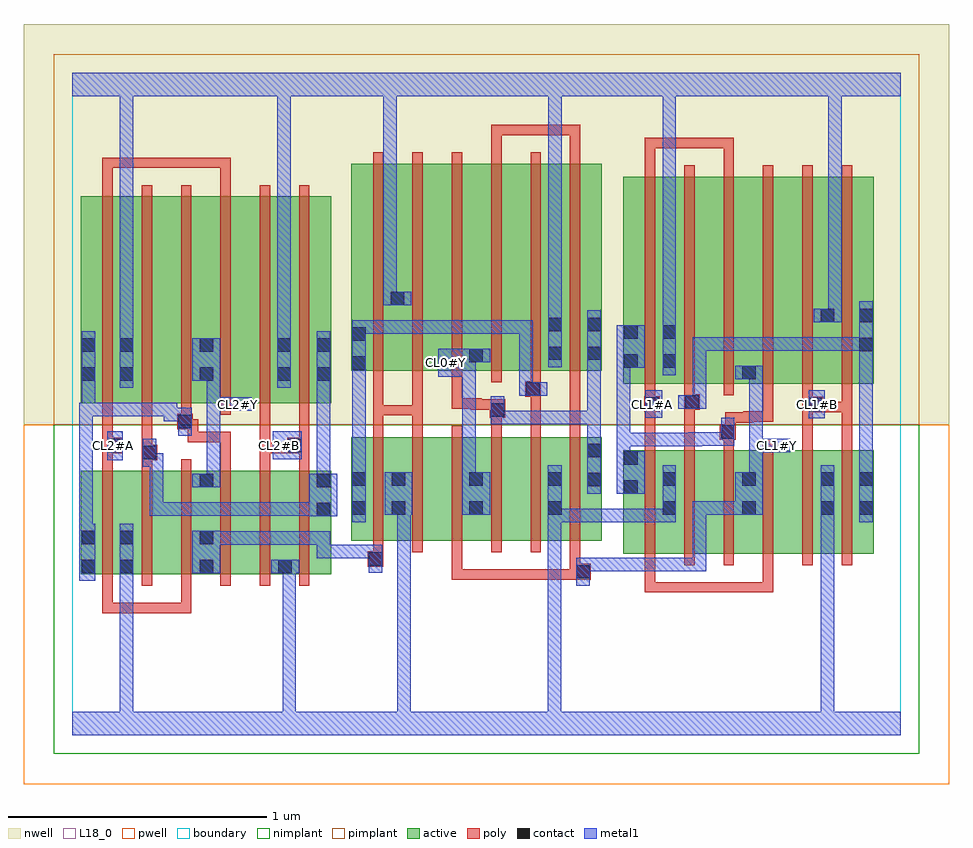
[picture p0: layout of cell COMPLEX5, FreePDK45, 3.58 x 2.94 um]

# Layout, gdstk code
import gdstk
lib = gdstk.Library(unit=1e-6, precision=1e-09)
def R(c, l, rs):  # rectangles x0, y0, x1, y1
    for r in rs: c.add(gdstk.rectangle(r[:2], r[2:], *l))
def A(c, l, x, y, w, h, nx, ny, dx, dy):  # array of equal rectangles
    R(c, l, [(x+i*dx, y+j*dy, x+i*dx+w, y+j*dy+h) for i in range(nx) for j in range(ny)])
active = (1, 0)
pwell = (2, 0)
nwell = (3, 0)
nimplant = (4, 0)
pimplant = (5, 0)
poly = (9, 0)
contact = (10, 0)
metal1 = (11, 0)
L18_0 = (18, 0)
boundary = (235, 0)

complex5 = lib.new_cell('COMPLEX5')
R(complex5, active, [(0.032,0.622,0.24,1.022), (0.032,0.622,0.092,1.022), (0.18,0.622,0.364,1.022), (0.18,0.622,0.24,1.022), (0.364,0.622,0.548,1.022), (0.488,0.622,0.668,1.022), (0.488,0.622,0.548,1.022), (0.668,0.622,0.852,1.022), (0.792,0.622,1,1.022), (0.792,0.622,0.852,0.682), (2.128,0.702,2.336,1.102), (2.276,0.702,2.46,1.102), (2.46,0.702,2.644,1.102), (2.584,0.702,2.764,1.102), (2.764,0.702,2.948,1.102), (2.888,0.702,3.096,1.102), (1.078,0.752,1.29,1.152), (1.078,0.752,1.138,1.152), (1.23,0.752,1.41,1.152), (1.41,0.752,1.59,1.152), (1.53,0.752,1.714,1.152), (1.714,0.752,1.894,1.152), (1.834,0.752,2.046,1.152), (0.94,0.756,1,1.022), (1.23,0.756,1.29,1.152), (1.53,0.756,1.59,1.152), (1.834,0.756,1.894,1.152), (1.986,0.756,2.046,1.152), (2.128,0.756,2.188,1.102), (2.276,0.756,2.336,1.102), (2.584,0.756,2.644,1.102), (2.888,0.756,2.948,1.102), (3.036,0.756,3.096,1.102), (0.032,1.282,0.24,2.082), (0.032,1.282,0.092,2.044), (0.18,1.282,0.364,2.082), (0.364,1.282,0.548,2.082), (0.488,1.282,0.668,2.082), (0.668,1.282,0.848,2.082), (0.788,1.282,1,2.082), (0.788,1.282,0.848,2.044), (0.94,1.282,1,2.044), (2.128,1.358,2.188,2.044), (2.128,1.358,2.336,2.158), (2.276,1.358,2.336,2.044), (2.276,1.358,2.46,2.158), (2.46,1.358,2.644,2.158), (2.584,1.358,2.644,2.044), (2.584,1.358,2.764,2.158), (2.764,1.358,2.948,2.158), (2.888,1.358,2.948,2.044), (2.888,1.358,3.096,2.158), (3.036,1.358,3.096,2.044), (0.18,1.366,0.24,2.044), (0.488,1.366,0.548,2.044), (1.078,1.408,1.286,2.208), (1.078,1.408,1.138,2.044), (1.226,1.408,1.41,2.208), (1.41,1.408,1.59,2.208), (1.53,1.408,1.714,2.208), (1.53,1.408,1.59,2.044), (1.714,1.408,1.894,2.208), (1.834,1.408,2.046,2.208), (1.986,1.408,2.046,2.044), (1.834,1.446,1.894,2.044), (1.226,1.658,1.286,2.044)])
R(complex5, pwell, [(-0.188,-0.188,3.388,1.2)])
R(complex5, nwell, [(-0.188,1.2,3.388,2.748)])
R(complex5, nimplant, [(-0.072,-0.072,3.272,1.2)])
R(complex5, pimplant, [(-0.072,1.2,3.272,2.632)])
A(complex5, poly, 0.116, 0.578, 0.04, 0.488, 6, 1, 0.152, 0)
A(complex5, poly, 2.212, 0.658, 0.04, 0.488, 6, 1, 0.152, 0)
A(complex5, poly, 1.162, 0.708, 0.04, 0.488, 6, 1, 0.152, 0)
A(complex5, poly, 0.116, 1.238, 0.04, 0.888, 6, 1, 0.152, 0)
A(complex5, poly, 2.212, 1.314, 0.04, 0.888, 6, 1, 0.152, 0)
A(complex5, poly, 1.162, 1.364, 0.04, 0.888, 6, 1, 0.152, 0)
R(complex5, poly, [(0.116,0.472,0.156,0.512), (0.116,0.472,0.156,0.512), (0.116,0.472,0.156,0.512), (0.116,0.472,0.156,0.618), (0.116,0.472,0.262,0.512), (0.222,0.472,0.262,0.512), (0.222,0.472,0.296,0.512), (0.256,0.472,0.296,0.512), (0.256,0.472,0.46,0.512), (0.42,0.472,0.46,0.512), (0.42,0.472,0.46,0.618), (2.212,0.552,2.252,0.592), (2.212,0.552,2.252,0.592), (2.212,0.552,2.252,0.592), (2.212,0.552,2.252,0.698), (2.212,0.552,2.358,0.592), (2.318,0.552,2.358,0.592), (2.318,0.552,2.526,0.592), (2.486,0.552,2.526,0.592), (2.486,0.552,2.526,0.592), (2.486,0.552,2.526,0.592), (2.486,0.552,2.708,0.592), (2.668,0.552,2.708,0.592), (2.668,0.552,2.708,0.592), (2.668,0.552,2.708,0.592), (2.668,0.552,2.708,0.698), (1.466,0.602,1.506,0.642), (1.466,0.602,1.506,0.642), (1.466,0.602,1.506,0.642), (1.466,0.602,1.506,0.748), (1.466,0.602,1.612,0.642), (1.572,0.602,1.612,0.642), (1.572,0.602,1.794,0.642), (1.754,0.602,1.794,0.642), (1.754,0.602,1.794,0.642), (1.754,0.602,1.794,0.642), (1.754,0.602,1.962,0.642), (1.922,0.602,1.962,0.642), (1.922,0.602,1.962,0.642), (1.922,0.602,2.002,0.662), (1.922,0.622,1.962,0.748), (1.142,0.652,1.202,0.712), (1.162,0.672,1.202,0.748), (0.116,1.026,0.156,1.13), (0.268,1.026,0.308,1.102), (0.572,1.026,0.612,1.172), (0.724,1.026,0.764,1.13), (0.876,1.026,0.916,1.13), (0.268,1.062,0.328,1.122), (0.268,1.082,0.308,1.122), (0.268,1.082,0.308,1.122), (0.268,1.082,0.308,1.278), (0.116,1.09,0.19,1.15), (0.724,1.09,0.764,1.13), (0.724,1.09,0.764,1.13), (0.724,1.09,0.764,1.13), (0.724,1.09,0.87,1.13), (0.724,1.09,0.764,1.278), (0.83,1.09,0.87,1.13), (0.83,1.09,0.87,1.13), (0.83,1.09,0.916,1.15), (2.212,1.106,2.252,1.29), (2.364,1.106,2.404,1.298), (2.516,1.106,2.556,1.182), (2.82,1.106,2.86,1.288), (2.972,1.106,3.012,1.288), (0.116,1.11,0.156,1.15), (0.116,1.11,0.156,1.15), (0.116,1.11,0.156,1.278), (0.876,1.11,0.916,1.15), (0.876,1.11,0.916,1.15), (0.876,1.11,0.916,1.278), (0.446,1.132,0.612,1.172), (0.446,1.132,0.486,1.222), (0.572,1.132,0.612,1.172), (0.572,1.132,0.612,1.172), (0.572,1.132,0.612,1.172), (2.502,1.142,2.562,1.202), (1.162,1.156,1.202,1.276), (1.314,1.156,1.354,1.276), (1.618,1.156,1.658,1.266), (1.77,1.156,1.81,1.348), (1.922,1.156,1.962,1.232), (2.522,1.162,2.562,1.248), (0.406,1.182,0.466,1.242), (0.426,1.182,0.486,1.222), (1.922,1.192,1.962,1.232), (1.922,1.192,1.962,1.232), (1.922,1.192,1.962,1.232), (1.922,1.192,1.962,1.404), (0.42,1.202,0.46,1.278), (2.522,1.208,2.562,1.248), (2.522,1.208,2.632,1.248), (2.592,1.208,2.632,1.252), (2.592,1.212,2.708,1.252), (2.668,1.212,2.708,1.252), (2.668,1.212,2.708,1.354), (1.612,1.226,1.672,1.298), (1.162,1.236,1.202,1.276), (1.162,1.236,1.202,1.276), (1.162,1.236,1.202,1.276), (1.162,1.236,1.202,1.276), (1.162,1.236,1.202,1.276), (1.162,1.236,1.202,1.404), (1.162,1.236,1.354,1.276), (1.314,1.236,1.354,1.276), (1.314,1.236,1.354,1.276), (1.314,1.236,1.354,1.276), (1.314,1.236,1.354,1.404), (2.82,1.248,2.86,1.288), (2.82,1.248,2.86,1.288), (2.82,1.248,2.9,1.308), (2.86,1.248,3.012,1.288), (2.972,1.248,3.012,1.354), (2.972,1.248,3.012,1.288), (2.972,1.248,3.012,1.288), (2.972,1.248,3.012,1.288), (2.972,1.248,3.012,1.288), (2.972,1.248,3.012,1.288), (2.21,1.25,2.27,1.31), (2.212,1.25,2.252,1.29), (2.212,1.25,2.252,1.29), (1.542,1.258,1.652,1.298), (1.542,1.258,1.582,1.302), (2.364,1.258,2.404,1.298), (2.364,1.258,2.404,1.298), (2.364,1.258,2.424,1.318), (1.466,1.262,1.506,1.302), (1.466,1.262,1.506,1.302), (1.466,1.262,1.506,1.302), (1.466,1.262,1.506,1.404), (1.466,1.262,1.582,1.302), (2.82,1.268,2.86,1.354), (2.212,1.27,2.252,1.354), (2.364,1.278,2.404,1.354), (1.75,1.308,1.81,1.368), (1.77,1.308,1.81,1.348), (1.77,1.308,1.81,1.348), (1.77,1.328,1.81,1.404), (0.116,2.086,0.156,2.232), (0.572,2.086,0.612,2.232), (2.212,2.162,2.252,2.308), (2.516,2.162,2.556,2.308), (0.116,2.192,0.156,2.232), (0.116,2.192,0.156,2.232), (0.116,2.192,0.156,2.232), (0.116,2.192,0.274,2.232), (0.234,2.192,0.274,2.232), (0.234,2.192,0.38,2.232), (0.34,2.192,0.38,2.232), (0.34,2.192,0.38,2.232), (0.34,2.192,0.38,2.232), (0.34,2.192,0.612,2.232), (0.572,2.192,0.612,2.232), (0.572,2.192,0.612,2.232), (0.572,2.192,0.612,2.232), (1.618,2.212,1.658,2.358), (1.922,2.212,1.962,2.358), (2.212,2.268,2.252,2.308), (2.212,2.268,2.252,2.308), (2.212,2.268,2.252,2.308), (2.212,2.268,2.42,2.308), (2.38,2.268,2.42,2.308), (2.38,2.268,2.526,2.308), (2.486,2.268,2.526,2.308), (2.486,2.268,2.556,2.308), (2.516,2.268,2.556,2.308), (1.618,2.318,1.658,2.358), (1.618,2.318,1.764,2.358), (1.724,2.318,1.764,2.358), (1.724,2.318,1.764,2.358), (1.724,2.318,1.764,2.358), (1.724,2.318,1.962,2.358), (1.922,2.318,1.962,2.358), (1.922,2.318,1.962,2.358), (1.922,2.318,1.962,2.358)])
R(complex5, contact, [(1.946,0.606,1.998,0.658), (0.036,0.626,0.088,0.678), (0.184,0.626,0.236,0.678), (0.492,0.626,0.544,0.678), (0.796,0.626,0.848,0.678), (1.146,0.656,1.198,0.708), (0.036,0.738,0.088,0.79), (0.184,0.738,0.236,0.79), (0.492,0.738,0.544,0.79), (0.944,0.846,0.996,0.898), (1.082,0.852,1.134,0.904), (1.234,0.852,1.286,0.904), (1.534,0.852,1.586,0.904), (1.838,0.852,1.89,0.904), (2.28,0.852,2.332,0.904), (2.588,0.852,2.64,0.904), (2.892,0.852,2.944,0.904), (3.04,0.852,3.092,0.904), (2.132,0.934,2.184,0.986), (0.492,0.958,0.544,1.01), (0.944,0.958,0.996,1.01), (1.99,0.962,2.042,1.014), (1.082,0.964,1.134,1.016), (1.234,0.964,1.286,1.016), (1.534,0.964,1.586,1.016), (1.838,0.964,1.89,1.016), (2.28,0.964,2.332,1.016), (2.588,0.964,2.64,1.016), (2.892,0.964,2.944,1.016), (3.04,0.964,3.092,1.016), (2.132,1.046,2.184,1.098), (0.272,1.066,0.324,1.118), (1.99,1.074,2.042,1.126), (0.134,1.094,0.186,1.146), (0.834,1.094,0.886,1.146), (2.506,1.146,2.558,1.198), (0.41,1.186,0.462,1.238), (1.616,1.23,1.668,1.282), (2.844,1.252,2.896,1.304), (2.214,1.254,2.266,1.306), (2.368,1.262,2.42,1.314), (1.754,1.312,1.806,1.364), (0.036,1.37,0.088,1.422), (0.184,1.37,0.236,1.422), (0.492,1.37,0.544,1.422), (0.792,1.37,0.844,1.422), (0.944,1.37,0.996,1.422), (2.588,1.376,2.64,1.428), (1.082,1.412,1.134,1.464), (2.132,1.42,2.184,1.472), (2.28,1.42,2.332,1.472), (1.534,1.442,1.586,1.494), (1.838,1.45,1.89,1.502), (1.99,1.45,2.042,1.502), (0.036,1.482,0.088,1.534), (0.184,1.482,0.236,1.534), (0.492,1.482,0.544,1.534), (0.792,1.482,0.844,1.534), (0.944,1.482,0.996,1.534), (3.04,1.484,3.092,1.536), (1.082,1.524,1.134,1.576), (2.132,1.532,2.184,1.584), (2.28,1.532,2.332,1.584), (1.838,1.562,1.89,1.614), (1.99,1.562,2.042,1.614), (2.892,1.596,2.944,1.648), (3.04,1.596,3.092,1.648), (1.23,1.662,1.282,1.714)])
A(complex5, metal1, 0.3, 0.848, 0.052, 0.052, 3, 1, 0.11, 0)
A(complex5, metal1, 0.3, 0.848, 0.162, 0.052, 3, 1, 0.11, 0)
R(complex5, metal1, [(0,0,3.2,0.092), (0.184,0.04,0.236,0.092), (0.184,0.04,0.236,0.092), (0.184,0.04,0.236,0.092), (0.184,0.04,0.236,0.092), (0.184,0.04,0.236,0.092), (0.184,0.04,0.236,0.092), (0.184,0.04,0.236,0.092), (0.184,0.04,0.236,0.092), (0.184,0.04,0.236,0.092), (0.184,0.04,0.236,0.092), (0.184,0.04,0.236,0.092), (0.184,0.04,0.236,0.092), (0.184,0.04,0.236,0.65), (0.812,0.04,0.864,0.092), (0.812,0.04,0.864,0.092), (0.812,0.04,0.864,0.092), (0.812,0.04,0.864,0.092), (0.812,0.04,0.864,0.092), (0.812,0.04,0.864,0.092), (0.812,0.04,0.864,0.092), (0.812,0.04,0.864,0.092), (0.812,0.04,0.864,0.092), (0.812,0.04,0.864,0.092), (0.812,0.04,0.864,0.678), (1.256,0.04,1.308,0.092), (1.256,0.04,1.308,0.092), (1.256,0.04,1.308,0.092), (1.256,0.04,1.308,0.092), (1.256,0.04,1.308,0.092), (1.256,0.04,1.308,0.092), (1.256,0.04,1.308,0.092), (1.256,0.04,1.308,0.092), (1.256,0.04,1.308,0.092), (1.256,0.04,1.308,0.092), (1.256,0.04,1.308,0.092), (1.256,0.04,1.308,0.092), (1.256,0.04,1.308,0.904), (1.836,0.04,1.888,0.092), (1.836,0.04,1.888,0.092), (1.836,0.04,1.888,0.092), (1.836,0.04,1.888,0.092), (1.836,0.04,1.888,0.092), (1.836,0.04,1.888,0.092), (1.836,0.04,1.888,0.092), (1.836,0.04,1.888,0.092), (1.836,0.04,1.888,0.092), (1.836,0.04,1.888,0.092), (1.836,0.04,1.888,0.876), (2.892,0.04,2.944,0.092), (2.892,0.04,2.944,0.092), (2.892,0.04,2.944,0.092), (2.892,0.04,2.944,0.092), (2.892,0.04,2.944,0.092), (2.892,0.04,2.944,0.092), (2.892,0.04,2.944,0.092), (2.892,0.04,2.944,0.092), (2.892,0.04,2.944,0.092), (2.892,0.04,2.944,0.092), (2.892,0.04,2.944,0.092), (2.892,0.04,2.944,0.092), (2.892,0.04,2.944,0.876), (1.946,0.578,1.998,0.686), (0.026,0.598,0.088,0.818), (0.184,0.598,0.236,0.818), (0.464,0.626,0.572,0.79), (0.768,0.626,0.876,0.678), (0.812,0.626,0.864,0.678), (0.812,0.626,0.864,0.678), (1.146,0.628,1.198,0.736), (1.946,0.634,2.046,0.686), (1.994,0.634,2.046,0.686), (1.994,0.634,2.156,0.686), (2.104,0.634,2.156,0.686), (2.104,0.634,2.156,0.686), (2.104,0.634,2.156,0.686), (2.104,0.634,2.266,0.686), (2.214,0.634,2.266,0.686), (2.214,0.634,2.448,0.686), (2.396,0.634,2.448,0.686), (2.396,0.634,2.448,0.686), (2.396,0.634,2.448,0.686), (2.396,0.634,2.448,0.686), (2.396,0.634,2.448,0.686), (2.396,0.634,2.448,0.686), (2.396,0.634,2.448,0.686), (2.396,0.634,2.448,0.904), (0.944,0.684,0.996,0.736), (0.944,0.684,0.996,0.736), (0.944,0.684,0.996,0.736), (0.944,0.684,0.996,0.736), (0.944,0.684,0.996,0.736), (0.944,0.684,1.198,0.736), (0.944,0.684,0.996,0.788), (0.52,0.736,0.572,0.788), (0.52,0.736,0.572,0.788), (0.52,0.736,0.71,0.788), (0.658,0.736,0.71,0.788), (0.658,0.736,0.71,0.788), (0.658,0.736,0.71,0.788), (0.658,0.736,0.858,0.788), (0.806,0.736,0.858,0.788), (0.806,0.736,0.858,0.788), (0.806,0.736,0.858,0.788), (0.806,0.736,0.996,0.788), (0.944,0.736,0.996,0.788), (0.026,0.766,0.078,0.818), (0.026,0.766,0.078,0.818), (0.026,0.766,0.078,1.284), (1.082,0.824,1.134,1.044), (1.836,0.824,1.888,0.876), (1.836,0.824,1.888,0.876), (1.836,0.824,1.89,1.044), (1.838,0.824,2.046,0.876), (1.994,0.824,2.046,0.876), (1.994,0.824,2.046,0.876), (1.994,0.824,2.046,0.876), (1.994,0.824,2.156,0.876), (2.104,0.824,2.156,0.876), (2.104,0.824,2.156,0.876), (2.104,0.824,2.156,0.876), (2.104,0.824,2.332,0.876), (2.28,0.824,2.332,1.044), (2.892,0.824,2.944,1.044), (3.04,0.824,3.092,1.044), (0.916,0.846,1.024,1.01), (0.3,0.848,0.352,0.9), (0.3,0.848,0.352,0.9), (0.3,0.848,0.352,1.09), (0.52,0.848,0.572,0.9), (0.52,0.848,0.572,0.9), (0.63,0.848,0.682,0.9), (0.63,0.848,0.682,0.9), (0.63,0.848,0.682,0.9), (0.63,0.848,0.832,0.9), (0.78,0.848,0.832,0.9), (0.78,0.848,0.832,0.9), (0.78,0.848,0.832,0.9), (0.78,0.848,0.968,0.9), (1.206,0.852,1.314,1.016), (1.506,0.852,1.614,1.016), (2.396,0.852,2.448,0.904), (2.396,0.852,2.612,0.904), (2.56,0.852,2.612,0.904), (2.56,0.852,2.612,0.904), (2.56,0.852,2.612,0.904), (2.56,0.852,2.612,0.904), (2.56,0.852,2.668,1.016), (1.99,0.934,2.042,1.154), (2.104,0.934,2.212,1.098), (0.464,0.958,0.572,1.01), (0.52,0.958,0.572,1.306), (0.944,0.958,0.996,1.01), (0.944,0.958,0.996,1.01), (0.944,0.958,0.996,1.394), (1.506,0.964,1.558,1.438), (2.616,0.964,2.668,1.146), (1.082,0.992,1.134,1.044), (1.082,0.992,1.134,1.044), (1.082,0.992,1.134,1.044), (1.082,0.992,1.134,1.044), (1.082,0.992,1.134,1.436), (3.04,0.992,3.092,1.044), (3.04,0.992,3.092,1.044), (3.04,0.992,3.092,1.044), (3.04,0.992,3.092,1.044), (3.04,0.992,3.092,1.508), (0.272,1.038,0.324,1.146), (0.272,1.038,0.352,1.09), (0.3,1.038,0.352,1.09), (2.104,1.046,2.156,1.168), (0.134,1.062,0.194,1.174), (0.774,1.066,0.886,1.174), (2.616,1.094,2.668,1.146), (2.616,1.094,2.668,1.146), (2.616,1.094,2.668,1.428), (2.616,1.094,2.774,1.146), (1.99,1.102,2.042,1.254), (2.104,1.116,2.156,1.168), (2.104,1.116,2.156,1.168), (2.104,1.116,2.156,1.168), (2.104,1.116,2.156,1.168), (2.104,1.116,2.156,1.168), (2.104,1.116,2.322,1.168), (2.104,1.116,2.156,1.472), (2.27,1.116,2.322,1.168), (2.27,1.116,2.322,1.168), (2.27,1.116,2.322,1.168), (2.27,1.116,2.432,1.168), (2.38,1.116,2.432,1.17), (2.38,1.118,2.558,1.17), (2.506,1.118,2.558,1.226), (0.41,1.158,0.462,1.266), (1.616,1.202,1.668,1.254), (1.616,1.202,1.668,1.254), (1.616,1.202,1.668,1.31), (1.616,1.202,1.888,1.254), (1.836,1.202,1.888,1.254), (1.836,1.202,1.888,1.254), (1.836,1.202,1.888,1.254), (1.836,1.202,2.042,1.254), (1.99,1.202,2.042,1.254), (1.99,1.202,2.042,1.254), (1.99,1.202,2.042,1.254), (1.99,1.202,2.042,1.474), (0.354,1.214,0.462,1.266), (0.354,1.214,0.406,1.284), (2.844,1.224,2.906,1.334), (2.214,1.226,2.278,1.334), (0.026,1.232,0.088,1.284), (0.036,1.232,0.088,1.284), (0.036,1.232,0.088,1.284), (0.036,1.232,0.198,1.284), (0.036,1.232,0.088,1.394), (0.146,1.232,0.198,1.284), (0.146,1.232,0.198,1.284), (0.146,1.232,0.198,1.284), (0.146,1.232,0.406,1.284), (0.52,1.254,0.572,1.306), (0.52,1.254,0.572,1.306), (0.52,1.254,0.572,1.422), (0.52,1.254,0.694,1.306), (2.34,1.262,2.448,1.314), (2.396,1.262,2.448,1.314), (2.396,1.262,2.448,1.314), (2.396,1.262,2.448,1.538), (1.726,1.312,1.778,1.364), (1.726,1.312,1.778,1.364), (1.726,1.312,1.834,1.364), (1.726,1.312,1.778,1.604), (0.036,1.342,0.088,1.562), (0.184,1.342,0.236,1.562), (0.792,1.342,0.844,1.562), (0.944,1.342,0.996,1.394), (0.944,1.342,0.996,1.394), (0.944,1.342,0.996,1.394), (0.944,1.342,0.996,1.394), (0.944,1.342,0.996,1.562), (0.464,1.37,0.572,1.534), (2.56,1.376,2.668,1.428), (1.082,1.384,1.134,1.604), (1.414,1.386,1.558,1.494), (2.28,1.392,2.332,1.612), (2.104,1.42,2.212,1.584), (1.838,1.422,1.89,1.642), (1.99,1.422,2.042,1.474), (1.99,1.422,2.042,1.474), (1.99,1.422,2.042,1.642), (1.506,1.442,1.558,1.494), (1.506,1.442,1.558,1.494), (1.506,1.442,1.558,1.494), (1.506,1.442,1.614,1.494), (3.04,1.456,3.092,1.508), (3.04,1.456,3.092,1.508), (3.04,1.456,3.092,1.676), (2.396,1.486,2.448,1.538), (2.396,1.486,2.448,1.538), (2.396,1.486,2.448,1.538), (2.396,1.486,2.616,1.538), (2.564,1.486,2.616,1.538), (2.564,1.486,2.616,1.538), (2.564,1.486,2.616,1.538), (2.564,1.486,2.726,1.538), (2.674,1.486,2.726,1.538), (2.674,1.486,2.726,1.538), (2.674,1.486,2.726,1.538), (2.674,1.486,2.836,1.538), (2.784,1.486,2.836,1.538), (2.784,1.486,2.836,1.538), (2.784,1.486,2.836,1.538), (2.784,1.486,3.092,1.538), (3.04,1.486,3.092,1.538), (3.04,1.486,3.092,1.538), (0.184,1.51,0.236,1.562), (0.184,1.51,0.236,1.562), (0.184,1.51,0.236,2.52), (0.792,1.51,0.844,1.562), (0.792,1.51,0.844,1.562), (0.792,1.51,0.844,2.52), (1.082,1.552,1.134,1.604), (1.082,1.552,1.134,1.604), (1.082,1.552,1.134,1.604), (1.082,1.552,1.134,1.604), (1.082,1.552,1.244,1.604), (1.192,1.552,1.244,1.604), (1.192,1.552,1.356,1.604), (1.304,1.552,1.356,1.604), (1.304,1.552,1.356,1.604), (1.304,1.552,1.356,1.604), (1.304,1.552,1.466,1.604), (1.414,1.552,1.466,1.604), (1.414,1.552,1.466,1.604), (1.414,1.552,1.466,1.604), (1.414,1.552,1.668,1.604), (1.616,1.552,1.668,1.604), (1.616,1.552,1.778,1.604), (1.726,1.552,1.778,1.604), (1.726,1.552,1.778,1.604), (1.726,1.552,1.778,1.604), (2.28,1.56,2.332,1.612), (2.28,1.56,2.332,1.612), (2.28,1.56,2.332,2.52), (1.838,1.59,1.89,1.642), (1.838,1.59,1.89,1.642), (1.838,1.59,1.89,2.52), (2.864,1.596,2.972,1.648), (2.92,1.596,2.972,2.52), (1.202,1.662,1.254,1.714), (1.202,1.662,1.254,1.714), (1.202,1.662,1.254,1.714), (1.202,1.662,1.254,1.714), (1.202,1.662,1.31,1.714), (1.202,1.662,1.254,2.52), (0,2.468,3.2,2.56), (0.184,2.468,0.236,2.52), (0.184,2.468,0.236,2.52), (0.184,2.468,0.236,2.52), (0.184,2.468,0.236,2.52), (0.184,2.468,0.236,2.52), (0.184,2.468,0.236,2.52), (0.792,2.468,0.844,2.52), (0.792,2.468,0.844,2.52), (0.792,2.468,0.844,2.52), (0.792,2.468,0.844,2.52), (0.792,2.468,0.844,2.52), (0.792,2.468,0.844,2.52), (1.202,2.468,1.254,2.52), (1.202,2.468,1.254,2.52), (1.202,2.468,1.254,2.52), (1.202,2.468,1.254,2.52), (1.838,2.468,1.89,2.52), (1.838,2.468,1.89,2.52), (1.838,2.468,1.89,2.52), (1.838,2.468,1.89,2.52), (1.838,2.468,1.89,2.52), (1.838,2.468,1.89,2.52), (2.28,2.468,2.332,2.52), (2.28,2.468,2.332,2.52), (2.28,2.468,2.332,2.52), (2.28,2.468,2.332,2.52), (2.28,2.468,2.332,2.52), (2.28,2.468,2.332,2.52), (2.92,2.468,2.972,2.52), (2.92,2.468,2.972,2.52), (2.92,2.468,2.972,2.52), (2.92,2.468,2.972,2.52), (2.92,2.468,2.972,2.52), (2.92,2.468,2.972,2.52), (2.92,2.468,2.972,2.52), (2.92,2.468,2.972,2.52)])
R(complex5, L18_0, [(0,0,3.2,0.092), (0.184,0.04,0.236,0.092), (0.184,0.04,0.236,0.092), (0.184,0.04,0.236,0.092), (0.184,0.04,0.236,0.092), (0.184,0.04,0.236,0.092), (0.184,0.04,0.236,0.092), (0.184,0.04,0.236,0.092), (0.184,0.04,0.236,0.092), (0.184,0.04,0.236,0.092), (0.184,0.04,0.236,0.092), (0.184,0.04,0.236,0.092), (0.184,0.04,0.236,0.092), (0.184,0.04,0.236,0.65), (0.812,0.04,0.864,0.092), (0.812,0.04,0.864,0.092), (0.812,0.04,0.864,0.092), (0.812,0.04,0.864,0.092), (0.812,0.04,0.864,0.092), (0.812,0.04,0.864,0.092), (0.812,0.04,0.864,0.092), (0.812,0.04,0.864,0.092), (0.812,0.04,0.864,0.092), (0.812,0.04,0.864,0.092), (0.812,0.04,0.864,0.678), (1.256,0.04,1.308,0.092), (1.256,0.04,1.308,0.092), (1.256,0.04,1.308,0.092), (1.256,0.04,1.308,0.092), (1.256,0.04,1.308,0.092), (1.256,0.04,1.308,0.092), (1.256,0.04,1.308,0.092), (1.256,0.04,1.308,0.092), (1.256,0.04,1.308,0.092), (1.256,0.04,1.308,0.092), (1.256,0.04,1.308,0.092), (1.256,0.04,1.308,0.092), (1.256,0.04,1.308,0.904), (1.836,0.04,1.888,0.092), (1.836,0.04,1.888,0.092), (1.836,0.04,1.888,0.092), (1.836,0.04,1.888,0.092), (1.836,0.04,1.888,0.092), (1.836,0.04,1.888,0.092), (1.836,0.04,1.888,0.092), (1.836,0.04,1.888,0.092), (1.836,0.04,1.888,0.092), (1.836,0.04,1.888,0.092), (1.836,0.04,1.888,0.876), (2.892,0.04,2.944,0.092), (2.892,0.04,2.944,0.092), (2.892,0.04,2.944,0.092), (2.892,0.04,2.944,0.092), (2.892,0.04,2.944,0.092), (2.892,0.04,2.944,0.092), (2.892,0.04,2.944,0.092), (2.892,0.04,2.944,0.092), (2.892,0.04,2.944,0.092), (2.892,0.04,2.944,0.092), (2.892,0.04,2.944,0.092), (2.892,0.04,2.944,0.092), (2.892,0.04,2.944,0.876), (1.946,0.578,1.998,0.686), (0.184,0.598,0.236,0.818), (0.464,0.626,0.572,0.79), (0.768,0.626,0.876,0.678), (0.812,0.626,0.864,0.678), (0.812,0.626,0.864,0.678), (1.146,0.628,1.198,0.736), (1.946,0.634,2.046,0.686), (1.994,0.634,2.046,0.686), (1.994,0.634,2.156,0.686), (2.104,0.634,2.156,0.686), (2.104,0.634,2.156,0.686), (2.104,0.634,2.156,0.686), (2.104,0.634,2.266,0.686), (2.214,0.634,2.266,0.686), (2.214,0.634,2.448,0.686), (2.396,0.634,2.448,0.686), (2.396,0.634,2.448,0.686), (2.396,0.634,2.448,0.686), (2.396,0.634,2.448,0.686), (2.396,0.634,2.448,0.686), (2.396,0.634,2.448,0.686), (2.396,0.634,2.448,0.686), (2.396,0.634,2.448,0.904), (0.944,0.684,0.996,0.736), (0.944,0.684,0.996,0.736), (0.944,0.684,0.996,0.736), (0.944,0.684,0.996,0.736), (0.944,0.684,0.996,0.736), (0.944,0.684,0.996,0.788), (0.944,0.684,1.198,0.736), (0.52,0.736,0.572,0.788), (0.52,0.736,0.572,0.788), (0.52,0.736,0.71,0.788), (0.658,0.736,0.71,0.788), (0.658,0.736,0.71,0.788), (0.658,0.736,0.71,0.788), (0.658,0.736,0.858,0.788), (0.806,0.736,0.858,0.788), (0.806,0.736,0.858,0.788), (0.806,0.736,0.858,0.788), (0.806,0.736,0.996,0.788), (0.944,0.736,0.996,0.788), (1.836,0.824,1.888,0.876), (1.836,0.824,1.888,0.876), (1.836,0.824,1.89,1.044), (1.838,0.824,2.046,0.876), (1.994,0.824,2.046,0.876), (1.994,0.824,2.046,0.876), (1.994,0.824,2.046,0.876), (1.994,0.824,2.156,0.876), (2.104,0.824,2.156,0.876), (2.104,0.824,2.156,0.876), (2.104,0.824,2.156,0.876), (2.104,0.824,2.332,0.876), (2.28,0.824,2.332,1.044), (2.892,0.824,2.944,1.044), (1.206,0.852,1.314,1.016), (1.506,0.852,1.614,1.016), (2.396,0.852,2.448,0.904), (2.396,0.852,2.612,0.904), (2.56,0.852,2.612,0.904), (2.56,0.852,2.612,0.904), (2.56,0.852,2.612,0.904), (2.56,0.852,2.612,0.904), (2.56,0.852,2.668,1.016), (0.464,0.958,0.572,1.01), (0.52,0.958,0.572,1.306), (1.506,0.964,1.558,1.438), (2.616,0.964,2.668,1.146), (0.134,1.062,0.194,1.174), (0.774,1.066,0.886,1.174), (0.134,1.094,0.186,1.146), (0.774,1.094,0.826,1.146), (2.616,1.094,2.668,1.146), (2.616,1.094,2.668,1.146), (2.616,1.094,2.774,1.146), (2.616,1.094,2.668,1.428), (2.694,1.094,2.746,1.146), (2.844,1.224,2.906,1.334), (2.214,1.226,2.278,1.334), (0.52,1.254,0.572,1.306), (0.52,1.254,0.572,1.306), (0.52,1.254,0.694,1.306), (0.52,1.254,0.572,1.422), (0.614,1.254,0.666,1.306), (2.214,1.254,2.266,1.306), (2.854,1.254,2.906,1.306), (0.184,1.342,0.236,1.562), (0.792,1.342,0.844,1.562), (0.464,1.37,0.572,1.534), (2.56,1.376,2.668,1.428), (1.414,1.386,1.558,1.494), (2.28,1.392,2.332,1.612), (1.414,1.414,1.466,1.466), (1.838,1.422,1.89,1.642), (1.506,1.442,1.558,1.494), (1.506,1.442,1.558,1.494), (1.506,1.442,1.558,1.494), (1.506,1.442,1.614,1.494), (0.184,1.51,0.236,1.562), (0.184,1.51,0.236,1.562), (0.184,1.51,0.236,2.52), (0.792,1.51,0.844,1.562), (0.792,1.51,0.844,1.562), (0.792,1.51,0.844,2.52), (2.28,1.56,2.332,1.612), (2.28,1.56,2.332,1.612), (2.28,1.56,2.332,2.52), (1.838,1.59,1.89,1.642), (1.838,1.59,1.89,1.642), (1.838,1.59,1.89,2.52), (2.864,1.596,2.972,1.648), (2.92,1.596,2.972,2.52), (1.202,1.662,1.254,1.714), (1.202,1.662,1.254,1.714), (1.202,1.662,1.254,1.714), (1.202,1.662,1.254,1.714), (1.202,1.662,1.31,1.714), (1.202,1.662,1.254,2.52), (0,2.468,3.2,2.56), (0.184,2.468,0.236,2.52), (0.184,2.468,0.236,2.52), (0.184,2.468,0.236,2.52), (0.184,2.468,0.236,2.52), (0.184,2.468,0.236,2.52), (0.184,2.468,0.236,2.52), (0.792,2.468,0.844,2.52), (0.792,2.468,0.844,2.52), (0.792,2.468,0.844,2.52), (0.792,2.468,0.844,2.52), (0.792,2.468,0.844,2.52), (0.792,2.468,0.844,2.52), (1.202,2.468,1.254,2.52), (1.202,2.468,1.254,2.52), (1.202,2.468,1.254,2.52), (1.202,2.468,1.254,2.52), (1.838,2.468,1.89,2.52), (1.838,2.468,1.89,2.52), (1.838,2.468,1.89,2.52), (1.838,2.468,1.89,2.52), (1.838,2.468,1.89,2.52), (1.838,2.468,1.89,2.52), (2.28,2.468,2.332,2.52), (2.28,2.468,2.332,2.52), (2.28,2.468,2.332,2.52), (2.28,2.468,2.332,2.52), (2.28,2.468,2.332,2.52), (2.28,2.468,2.332,2.52), (2.92,2.468,2.972,2.52), (2.92,2.468,2.972,2.52), (2.92,2.468,2.972,2.52), (2.92,2.468,2.972,2.52), (2.92,2.468,2.972,2.52), (2.92,2.468,2.972,2.52), (2.92,2.468,2.972,2.52), (2.92,2.468,2.972,2.52)])
R(complex5, boundary, [(0,0,3.2,2.56)])
complex5.add(gdstk.Label('CL0#Y', (1.44,1.44), layer=11, texttype=0))
complex5.add(gdstk.Label('CL1#A', (2.24,1.28), layer=11, texttype=0))
complex5.add(gdstk.Label('CL1#B', (2.88,1.28), layer=11, texttype=0))
complex5.add(gdstk.Label('CL1#Y', (2.72,1.12), layer=11, texttype=0))
complex5.add(gdstk.Label('CL2#A', (0.16,1.12), layer=11, texttype=0))
complex5.add(gdstk.Label('CL2#B', (0.8,1.12), layer=11, texttype=0))
complex5.add(gdstk.Label('CL2#Y', (0.64,1.28), layer=11, texttype=0))

lib.write_gds('COMPLEX5.gds')
